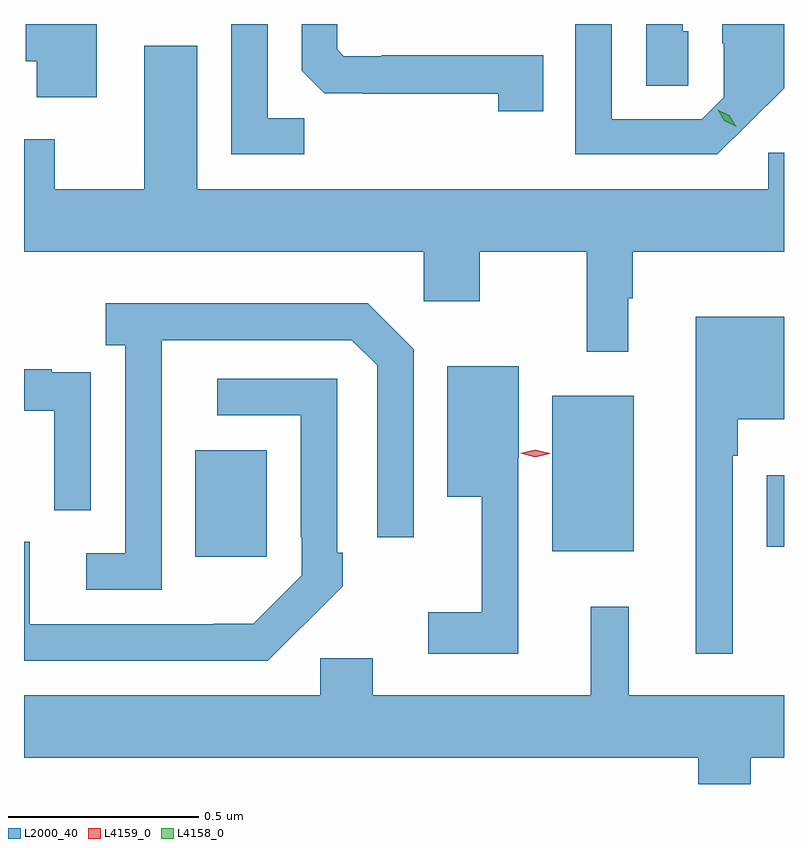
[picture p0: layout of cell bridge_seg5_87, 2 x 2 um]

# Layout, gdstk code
import gdstk
lib = gdstk.Library(unit=1e-6, precision=1e-09)
def R(c, l, rs):  # rectangles x0, y0, x1, y1
    for r in rs: c.add(gdstk.rectangle(r[:2], r[2:], *l))
def P(c, l, *ps):  # polygons
    for p in ps: c.add(gdstk.Polygon(p, *l))
L2000_40 = (2000, 40)
L4158_0 = (4158, 0)
L4159_0 = (4159, 0)

bridge_seg5_87 = lib.new_cell('bridge_seg5_87')
R(bridge_seg5_87, L2000_40, [(122.681,905.241,122.869,905.521), (123.62,905.255,123.835,905.665), (124.184,905.267,124.23,905.455)])
P(bridge_seg5_87, L2000_40, [(123.978,906.624),(123.963,906.624),(123.963,906.643),(123.867,906.643),(123.867,906.481),(123.978,906.481)],
  [(122.967,906.395),(122.871,906.395),(122.871,906.643),(122.775,906.643),(122.775,906.3),(122.967,906.3)],
  [(124.138,906.383),(124.23,906.474),(124.23,906.643),(124.067,906.643),(124.067,906.592),(124.071,906.592),(124.071,906.45),(124.014,906.393),(123.777,906.393),(123.777,906.643),(123.681,906.643),(123.681,906.3),(124.054,906.3)],
  [(123.596,906.561),(123.172,906.561),(123.172,906.558),(123.072,906.558),(123.054,906.576),(123.054,906.643),(122.961,906.643),(122.961,906.52),(123.02,906.461),(123.121,906.461),(123.121,906.46),(123.478,906.46),(123.478,906.414),(123.596,906.414)],
  [(122.422,906.643),(122.234,906.643),(122.234,906.545),(122.264,906.545),(122.264,906.45),(122.422,906.45)],
  [(123.82,905.921),(123.832,905.921),(123.832,906.044),(124.23,906.044),(124.23,906.304),(124.188,906.304),(124.188,906.208),(122.686,906.208),(122.686,906.586),(122.546,906.586),(122.546,906.208),(122.311,906.208),(122.311,906.34),(122.23,906.34),(122.23,906.044),(123.282,906.044),(123.282,905.913),(123.429,905.913),(123.429,906.044),(123.711,906.044),(123.711,905.781),(123.82,905.781)],
  [(122.592,905.811),(123.093,905.811),(123.159,905.745),(123.159,905.292),(123.255,905.292),(123.255,905.787),(123.134,905.908),(122.445,905.908),(122.445,905.798),(122.496,905.798),(122.496,905.25),(122.394,905.25),(122.394,905.154),(122.592,905.154)],
  [(124.095,905.507),(124.108,905.507),(124.108,905.603),(124.23,905.603),(124.23,905.872),(123.998,905.872),(123.998,904.986),(124.095,904.986)],
  [(123.531,905.503),(123.532,905.503),(123.532,905.743),(123.344,905.743),(123.344,905.399),(123.434,905.399),(123.434,905.095),(123.294,905.095),(123.294,904.986),(123.531,904.986)],
  [(122.406,905.618),(122.405,905.618),(122.405,905.727),(122.303,905.727),(122.303,905.734),(122.23,905.734),(122.23,905.625),(122.31,905.625),(122.31,905.364),(122.406,905.364)],
  [(122.963,905.059),(122.964,905.058),(123.069,905.163),(123.069,905.251),(123.054,905.251),(123.054,905.709),(122.739,905.709),(122.739,905.613),(122.958,905.613),(122.958,905.293),(122.961,905.293),(122.961,905.193),(122.833,905.065),(122.729,905.065),(122.729,905.064),(122.245,905.064),(122.245,905.28),(122.23,905.28),(122.23,904.968),(122.872,904.968)],
  [(124.143,904.712),(124.23,904.712),(124.23,904.876),(123.821,904.876),(123.821,905.11),(123.722,905.11),(123.722,904.876),(123.148,904.876),(123.148,904.974),(123.009,904.974),(123.009,904.876),(122.23,904.876),(122.23,904.712),(124.004,904.712),(124.004,904.643),(124.143,904.643)])
P(bridge_seg5_87, L4158_0, [(124.104,906.373),(124.073,906.388),(124.055,906.417),(124.055,906.418),(124.055,906.418),(124.086,906.403),(124.104,906.373),(124.104,906.373)])
P(bridge_seg5_87, L4159_0, [(123.575,905.503),(123.536,905.514),(123.536,905.514),(123.536,905.514),(123.575,905.523),(123.614,905.513),(123.615,905.513),(123.614,905.512)])

lib.write_gds('bridge_seg5_87.gds')
